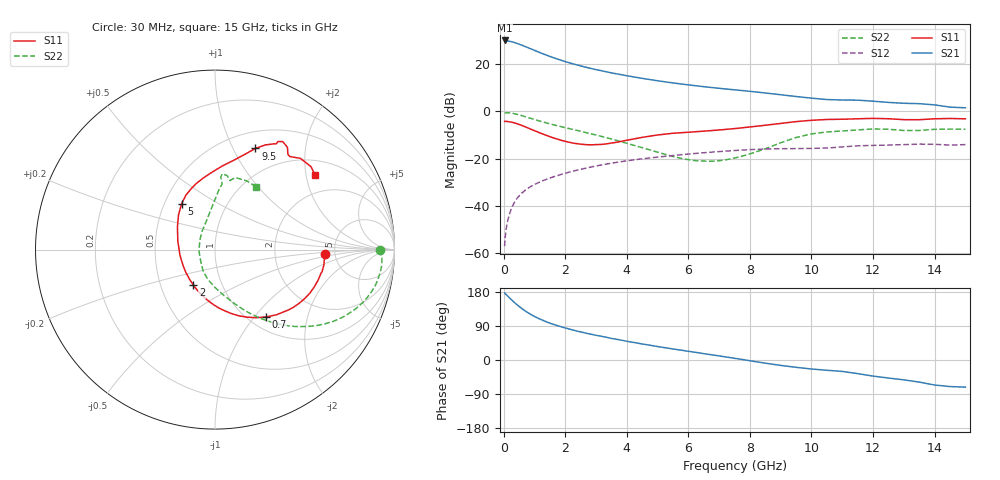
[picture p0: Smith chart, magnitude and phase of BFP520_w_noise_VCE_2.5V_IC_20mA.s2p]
! Infineon Technologies  Discrete & RF Semiconductors
! BFP520
! VCE =  2.5 V,  IC =  20 mA
! Common Emitter S-Parameters:  Oct 2015
# GHz  S  MA  R  50
!  f  S11  S21  S12  S22
! GHz  MAG  ANG  MAG  ANG  MAG  ANG  MAG  ANG
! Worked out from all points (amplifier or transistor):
!   109 points, 30 MHz to 15 GHz, reference 50 ohm
!   highest |S21| = 30.0 dB at 30 MHz (marker M1)
!   |S21| within 3 dB of that: start of sweep to 778.1 MHz
!   unconditionally stable (mu >= 1): start of sweep to 44.16 MHz; 2.846 GHz to end of sweep
!   at 450 MHz: K = 0.39, MSG = 32.7 dB, |S12| = -36.6 dB
!   at 4 GHz: K = 1.09, MAG = 16.2 dB, |S12| = -20.9 dB
!   at 15 GHz: K = 1.25, MAG = 4.8 dB, |S12| = -14.1 dB
!   lowest NFmin = 2.00 dB at 900 MHz
!   S11 on the Smith chart (normalised r, x): 30 MHz: 4.15, -0.30; 700 MHz: 1.19, -1.15; 2 GHz: 0.73, -0.31; 5 GHz: 0.61, +0.35; 9.5 GHz: 0.69, +1.23; 15 GHz: 1.40, +2.26
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0.03  0.6136 -2.1  31.71 176.8  0.0014 66.0  0.9173 -0.1
0.07  0.6108 -5.5  31.42 173.2  0.0029 74.2  0.9302 -2.4
0.2  0.599 -16.6  30.37 163.1  0.007 76.2  0.9247 -9.7
0.35  0.569 -28.7  28.66 151.7  0.0119 74.6  0.8903 -17.3
0.5  0.5288 -39.6  26.52 141.4  0.0162 72.0  0.8422 -23.8
0.6  0.4995 -46.6  25.07 135.1  0.0189 70.2  0.8067 -27.7
0.7  0.4704 -53.0  23.59 129.4  0.0214 68.8  0.7714 -31.2
0.9  0.4154 -64.9  20.82 119.4  0.0261 66.5  0.7041 -37.0
1  0.3907 -70.5  19.56 115.0  0.0283 65.5  0.6728 -39.5
1.2  0.3452 -81.0  17.31 107.1  0.0325 63.9  0.6162 -44.0
1.5  0.2915 -96.3  14.58 97.3  0.0387 61.9  0.5449 -49.5
1.7  0.2636 -106.2  13.11 91.8  0.0428 60.7  0.5043 -52.7
2  0.2323 -121.1  11.34 84.5  0.0489 58.8  0.4517 -57.1
2.6  0.1993 -152.2  8.819 72.2  0.0613 54.7  0.3653 -65.1
3.5  0.2135 166.3  6.533 57.0  0.08 47.3  0.26 -79.1
5  0.3167 125.9  4.447 35.4  0.1076 33.8  0.1368 -118.5
5.1  0.3217 124.2  4.354 34.2  0.1093 32.9  0.131 -121.0
7.6  0.4388 90.5  2.816 3.3  0.1495 9.9  0.1065 138.8
9.5  0.6069 68.2  2.064 -19.3  0.1629 -8.5  0.2797 89.9
10.5  0.6735 61.0  1.779 -27.1  0.1675 -13.7  0.3668 83.9
13  0.6675 52.5  1.483 -52.4  0.1977 -35.0  0.3934 77.7
15  0.6957 36.7  1.19 -71.6  0.1978 -51.4  0.4185 57.1
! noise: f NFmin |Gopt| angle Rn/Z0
0.45  2.01  0.16  1  0.27
0.9  2  0.12  1  0.3
1.9  2.2  0.1  -2  0.28
2.4  2.2  0.08  -6  0.28
3.5  2.15  0.04  -30  0.29
